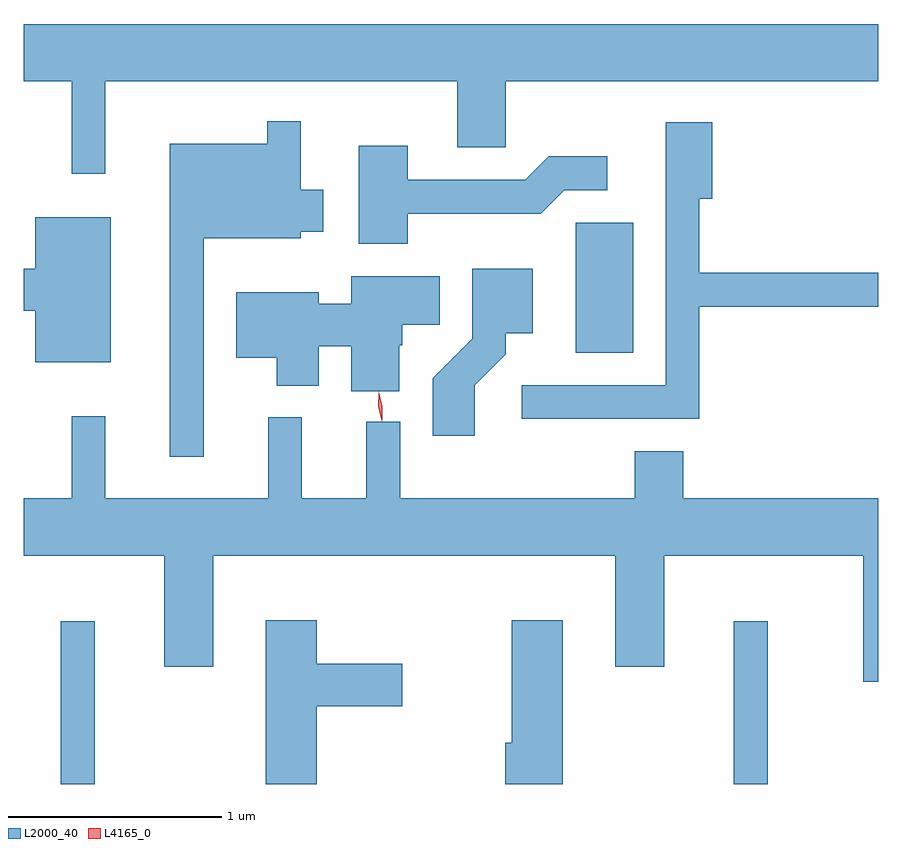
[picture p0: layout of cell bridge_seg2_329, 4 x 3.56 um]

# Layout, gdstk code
import gdstk
lib = gdstk.Library(unit=1e-6, precision=1e-09)
def R(c, l, rs):  # rectangles x0, y0, x1, y1
    for r in rs: c.add(gdstk.rectangle(r[:2], r[2:], *l))
def P(c, l, *ps):  # polygons
    for p in ps: c.add(gdstk.Polygon(p, *l))
L2000_40 = (2000, 40)
L4165_0 = (4165, 0)

bridge_seg2_329 = lib.new_cell('bridge_seg2_329')
R(bridge_seg2_329, L2000_40, [(410.026,996.187,410.184,996.948), (413.176,996.187,413.334,996.948), (412.436,998.206,412.704,998.814)])
P(bridge_seg2_329, L2000_40, [(410.234,999.476),(411.881,999.476),(411.881,999.166),(412.109,999.166),(412.109,999.476),(413.852,999.476),(413.852,999.744),(409.852,999.744),(409.852,999.476),(410.076,999.476),(410.076,999.043),(410.234,999.043)],
  [(410.694,998.741),(411.149,998.741),(411.149,998.771),(411.254,998.771),(411.254,998.969),(411.149,998.969),(411.149,999.288),(410.991,999.288),(410.991,999.184),(410.536,999.184),(410.536,997.718),(410.694,997.718)],
  [(413.014,998.421),(413.852,998.421),(413.852,998.579),(413.014,998.579),(413.014,998.926),(413.074,998.926),(413.074,999.284),(412.856,999.284),(412.856,998.054),(412.183,998.054),(412.183,997.896),(413.014,997.896)],
  [(411.649,998.856),(412.272,998.856),(412.382,998.966),(412.583,998.966),(412.583,999.124),(412.309,999.124),(412.199,999.014),(411.649,999.014),(411.649,999.174),(411.421,999.174),(411.421,998.716),(411.649,998.716)],
  [(410.259,998.839),(409.906,998.839),(409.906,998.599),(409.852,998.599),(409.852,998.401),(409.906,998.401),(409.906,998.161),(410.259,998.161)],
  [(411.964,998.054),(412.109,998.199),(412.109,998.296),(412.234,998.296),(412.234,998.599),(411.951,998.599),(411.951,998.272),(411.766,998.087),(411.766,997.816),(411.964,997.816)],
  [(411.609,998.24),(411.624,998.24),(411.624,998.336),(411.799,998.336),(411.799,998.564),(411.386,998.564),(411.386,998.434),(411.234,998.434),(411.234,998.489),(410.846,998.489),(410.846,998.181),(411.036,998.181),(411.036,998.051),(411.234,998.051),(411.234,998.236),(411.386,998.236),(411.386,998.026),(411.609,998.026)],
  [(410.234,997.908),(410.076,997.908),(410.076,997.524),(409.852,997.524),(409.852,997.256),(410.511,997.256),(410.511,996.736),(410.739,996.736),(410.739,997.256),(412.621,997.256),(412.621,996.736),(412.849,996.736),(412.849,997.256),(413.781,997.256),(413.781,996.666),(413.852,996.666),(413.852,997.524),(412.939,997.524),(412.939,997.744),(412.711,997.744),(412.711,997.524),(411.614,997.524),(411.614,997.883),(411.456,997.883),(411.456,997.524),(411.154,997.524),(411.154,997.903),(410.996,997.903),(410.996,997.524),(410.234,997.524)],
  [(411.224,996.551),(411.624,996.551),(411.624,996.749),(411.224,996.749),(411.224,996.954),(410.986,996.954),(410.986,996.187),(411.224,996.187)],
  [(412.374,996.954),(412.136,996.954),(412.136,996.379),(412.106,996.379),(412.106,996.187),(412.374,996.187)])
P(bridge_seg2_329, L4165_0, [(411.528,997.885),(411.528,997.886),(411.511,997.953),(411.514,998.023),(411.515,998.023),(411.515,998.023),(411.531,997.955),(411.529,997.886)],
  [(411.529,997.889),(411.529,997.889),(411.511,997.954),(411.513,998.02),(411.513,998.02),(411.514,998.02),(411.531,997.956),(411.53,997.889)])

lib.write_gds('bridge_seg2_329.gds')
